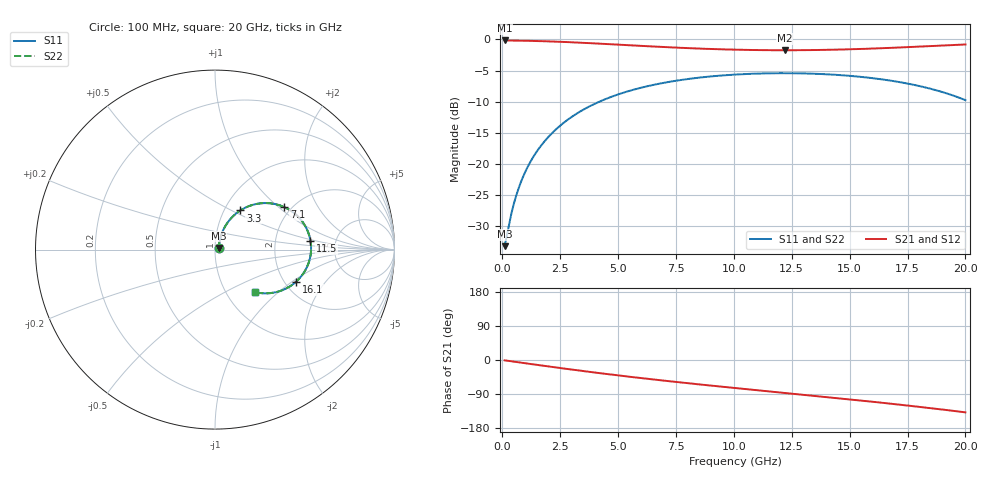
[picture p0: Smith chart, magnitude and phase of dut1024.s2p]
! Touchstone file exported from HFSS 2026.1.0
!  File:  C:/ffzhzh/LocalFiles/Ansys_Project_Files/temp_train_TSV_RDL_1024_1783293010_38820.aedt
!  Generated:  07:26:57 AM Jul  6, 2026
!  Design:  TSV_RDL
!  Project:  temp_train_TSV_RDL_1024_1783293010_38820
! Variables:
!  h_bsmrdl = 4.83um
!  h_ox = 20um
!  h_rdl = 5um
!  h_sub = 83.48um
!  h_tmrdl = 3.27um
!  h_tsv = 83.48um
!  h_via = 3um
!  l_bsmrdl = 158.24um
!  l_sub = 2206.83um
!  l_tmrdl = 302.21um
!  m_sub = 200um
!  pitch = 40.51um
!  r_tsv = 2.48um
!  s_tmrdl = 10um
!  w_bsmrdl = 24.98um
!  w_sub = 500um
!  w_tmrdl = 16.11um
!  x_tsv_center1 = 310.265um
!  x_tsv_center2 = 493.485um
!  x_tsv_center3 = 811.805um
!  x_tsv_center4 = 995.025um
!  x_tsv_center5 = 1313.345um
!  x_tsv_center6 = 1496.565um
# GHz S MA R 50.000000
! Terminal data exported
! Port[1] = TM_RDL1_1_T1
! Port[2] = TM_RDL5_1_T1
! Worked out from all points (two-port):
!   200 points, 100 MHz to 20 GHz, reference 50 ohm
!   highest |S21| = -0.18 dB at 100 MHz (marker M1); lowest = -1.7 dB at 12.2 GHz (marker M2)
!   |S21| within 3 dB of the highest: start of sweep to end of sweep
!   lowest |S11| = -33.2 dB at 100 MHz (marker M3), VSWR 1.04, Z = 52.1 + j0.902 ohm
!   |S11| at or under -10 dB: start of sweep to 4.189 GHz
!   |S22| runs from -33.2 to -5.4 dB; largest |S21 - S12| = 1.6e-13
!   S11 on the Smith chart (normalised r, x): 100 MHz: 1.04, +0.02; 3.3 GHz: 1.19, +0.56; 7.1 GHz: 1.83, +1.09; 11.5 GHz: 3.23, +0.44; 16.1 GHz: 2.29, -1.08; 20 GHz: 1.36, -0.72
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0.1  0.02195 23.2  0.9799 -0.9  0.9799 -0.9  0.02195 23.2
! Gamma 0 0 0 0
! Port Impedance 50 0 50 0
0.4  0.04068 55.3  0.9784 -3.5  0.9784 -3.5  0.04068 55.3
0.6  0.05578 62.1  0.9772 -5.2  0.9772 -5.2  0.05578 62.1
0.9  0.07929 66.2  0.9752 -7.8  0.9752 -7.8  0.07929 66.2
1.2  0.1031 67.2  0.9728 -10.3  0.9728 -10.3  0.1031 67.2
1.6  0.1347 66.7  0.9686 -13.7  0.9686 -13.7  0.1347 66.7
2.1  0.1734 64.5  0.9621 -17.9  0.9621 -17.9  0.1734 64.5
2.7  0.2178 61.0  0.9527 -22.8  0.9527 -22.8  0.2178 61.0
3.3  0.2597 57.1  0.9419 -27.6  0.9419 -27.6  0.2597 57.1
3.5  0.273 55.7  0.938 -29.2  0.938 -29.2  0.273 55.7
5  0.3617 45.5  0.9071 -40.6  0.9071 -40.6  0.3617 45.5
6.8  0.4419 33.5  0.871 -53.2  0.871 -53.2  0.4419 33.5
7.1  0.4526 31.6  0.8656 -55.3  0.8656 -55.3  0.4526 31.6
8.6  0.4956 22.3  0.8421 -65.0  0.8421 -65.0  0.4956 22.3
10.1  0.5224 13.4  0.8262 -74.2  0.8262 -74.2  0.5224 13.4
11.5  0.5342 5.2  0.8188 -82.7  0.8188 -82.7  0.5342 5.2
12.2  0.5355 1.2  0.8178 -86.9  0.8178 -86.9  0.5355 1.2
13.4  0.5306 -5.7  0.8206 -94.1  0.8206 -94.1  0.5306 -5.7
16.1  0.4857 -21.7  0.8451 -110.9  0.8451 -110.9  0.4857 -21.7
16.7  0.4689 -25.4  0.8535 -114.8  0.8535 -114.8  0.4689 -25.4
18.4  0.406 -36.2  0.8814 -126.4  0.8814 -126.4  0.406 -36.2
20  0.3255 -46.7  0.9098 -138.1  0.9098 -138.1  0.3255 -46.7
